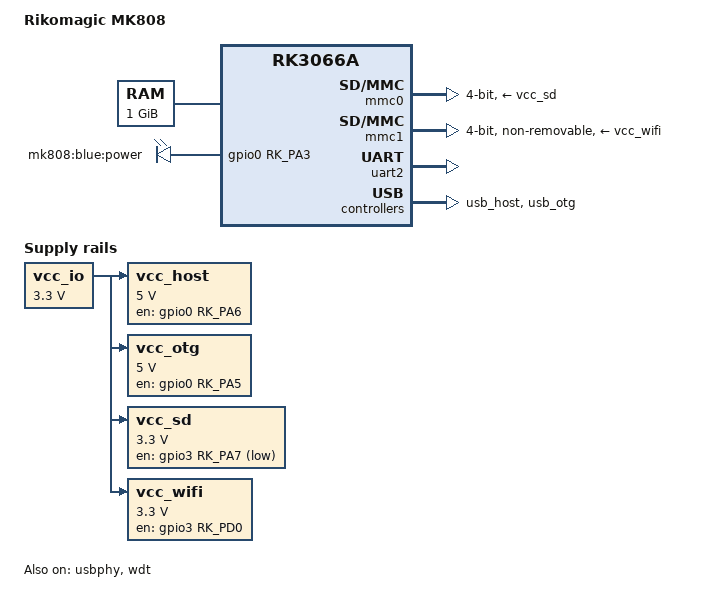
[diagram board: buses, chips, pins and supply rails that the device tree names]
// SPDX-License-Identifier: (GPL-2.0+ OR MIT)
/*
 * Copyright (c) 2016 Paweł Jarosz <paweljarosz3691@gmail.com>
 */

/dts-v1/;
#include "rk3066a.dtsi"

/ {
	model = "Rikomagic MK808";
	compatible = "rikomagic,mk808", "rockchip,rk3066a";

	chosen {
		stdout-path = "serial2:115200n8";
	};

	memory@60000000 {
		reg = <0x60000000 0x40000000>;
		device_type = "memory";
	};

	gpio-leds {
		compatible = "gpio-leds";

		blue {
			label = "mk808:blue:power";
			gpios = <&gpio0 RK_PA3 GPIO_ACTIVE_HIGH>;
			default-state = "off";
			linux,default-trigger = "default-on";
		};
	};

	vcc_io: vcc-io {
		compatible = "regulator-fixed";
		regulator-name = "vcc_io";
		regulator-min-microvolt = <3300000>;
		regulator-max-microvolt = <3300000>;
	};

	vcc_host: usb-host-regulator {
		compatible = "regulator-fixed";
		enable-active-high;
		gpio = <&gpio0 RK_PA6 GPIO_ACTIVE_HIGH>;
		pinctrl-0 = <&host_drv>;
		pinctrl-names = "default";
		regulator-always-on;
		regulator-name = "host-pwr";
		regulator-min-microvolt = <5000000>;
		regulator-max-microvolt = <5000000>;
		startup-delay-us = <100000>;
		vin-supply = <&vcc_io>;
	};

	vcc_otg: usb-otg-regulator {
		compatible = "regulator-fixed";
		enable-active-high;
		gpio = <&gpio0 RK_PA5 GPIO_ACTIVE_HIGH>;
		pinctrl-0 = <&otg_drv>;
		pinctrl-names = "default";
		regulator-always-on;
		regulator-name = "vcc_otg";
		regulator-min-microvolt = <5000000>;
		regulator-max-microvolt = <5000000>;
		startup-delay-us = <100000>;
		vin-supply = <&vcc_io>;
	};

	vcc_sd: sdmmc-regulator {
		compatible = "regulator-fixed";
		gpio = <&gpio3 RK_PA7 GPIO_ACTIVE_LOW>;
		pinctrl-0 = <&sdmmc_pwr>;
		pinctrl-names = "default";
		regulator-name = "vcc_sd";
		regulator-min-microvolt = <3300000>;
		regulator-max-microvolt = <3300000>;
		startup-delay-us = <100000>;
		vin-supply = <&vcc_io>;
	};

	vcc_wifi: sdio-regulator {
		compatible = "regulator-fixed";
		enable-active-high;
		gpio = <&gpio3 RK_PD0 GPIO_ACTIVE_HIGH>;
		pinctrl-0 = <&wifi_pwr>;
		pinctrl-names = "default";
		regulator-name = "vcc_wifi";
		regulator-min-microvolt = <3300000>;
		regulator-max-microvolt = <3300000>;
		startup-delay-us = <100000>;
		vin-supply = <&vcc_io>;
	};
};

&mmc0 {
	bus-width = <4>;
	cap-mmc-highspeed;
	cap-sd-highspeed;
	vmmc-supply = <&vcc_sd>;
	status = "okay";
};

&mmc1 {
	bus-width = <4>;
	disable-wp;
	non-removable;
	pinctrl-0 = <&sd1_clk &sd1_cmd &sd1_bus4>;
	pinctrl-names = "default";
	vmmc-supply = <&vcc_wifi>;
	status = "okay";
};

&pinctrl {
	usb-host {
		host_drv: host-drv {
			rockchip,pins = <RK_GPIO0 6 RK_FUNC_GPIO &pcfg_pull_default>;
		};
	};

	usb-otg {
		otg_drv: otg-drv {
			rockchip,pins = <RK_GPIO0 5 RK_FUNC_GPIO &pcfg_pull_default>;
		};
	};

	sdmmc {
		sdmmc_pwr: sdmmc-pwr {
			rockchip,pins = <RK_GPIO3 7 RK_FUNC_GPIO &pcfg_pull_default>;
		};
	};

	sdio {
		wifi_pwr: wifi-pwr {
			rockchip,pins = <RK_GPIO3 24 RK_FUNC_GPIO &pcfg_pull_none>;
		};
	};
};

&uart2 {
	status = "okay";
};

&usb_host {
	status = "okay";
};

&usb_otg {
	status = "okay";
};

&usbphy {
	status = "okay";
};

&wdt {
	status = "okay";
};
